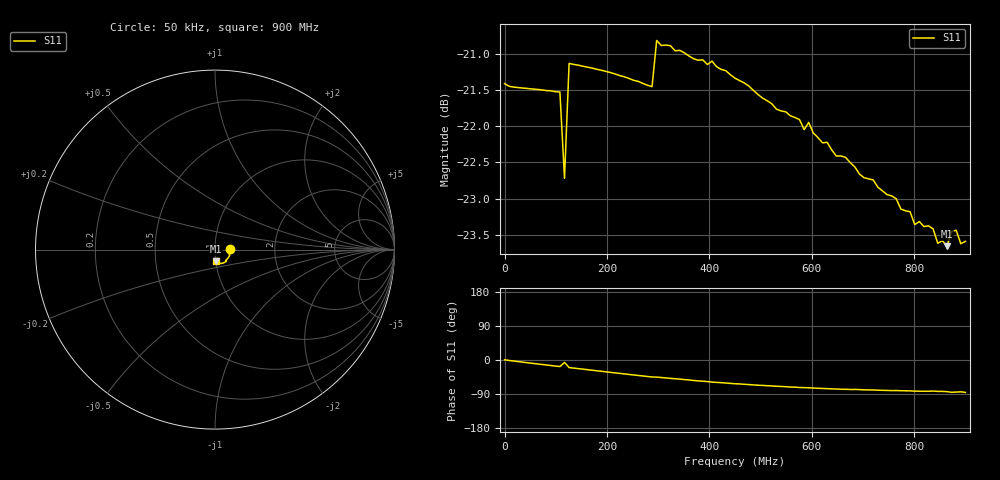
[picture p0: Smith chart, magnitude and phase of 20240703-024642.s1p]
# HZ S RI R 50
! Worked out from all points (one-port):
!   101 points, 50 kHz to 900 MHz, reference 50 ohm
!   lowest |S11| = -23.7 dB at 864 MHz (marker M1), VSWR 1.14, Z = 50.3 - j6.59 ohm
!   |S11| at or under -10 dB: start of sweep to end of sweep
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50000  0.085 0.000819
1.08044e8  0.08 -0.025
1.170435e8  0.0727 -0.00797
1.26043e8  0.0825 -0.03
2.250375e8  0.0702 -0.0498
2.88034e8  0.06 -0.0596
2.970335e8  0.0642 -0.0645
3.42031e8  0.0571 -0.0691
3.96028e8  0.0478 -0.0734
4.050275e8  0.0463 -0.0749
4.50025e8  0.0394 -0.0761
5.670185e8  0.0254 -0.0764
5.850175e8  0.0233 -0.0755
5.94017e8  0.0229 -0.0766
6.210155e8  0.0199 -0.0748
6.750125e8  0.0158 -0.0733
7.650075e8  0.0115 -0.0698
7.74007e8  0.0108 -0.0688
7.92006e8  0.0102 -0.0686
8.010055e8  0.00936 -0.0673
8.28004e8  0.00882 -0.0672
8.370035e8  0.00938 -0.0668
8.46003e8  0.00825 -0.0654
8.64002e8  0.00739 -0.0652
8.730015e8  0.00556 -0.067
8.82001e8  0.00632 -0.067
8.910005e8  0.00693 -0.0655
9e8  0.00519 -0.0659
